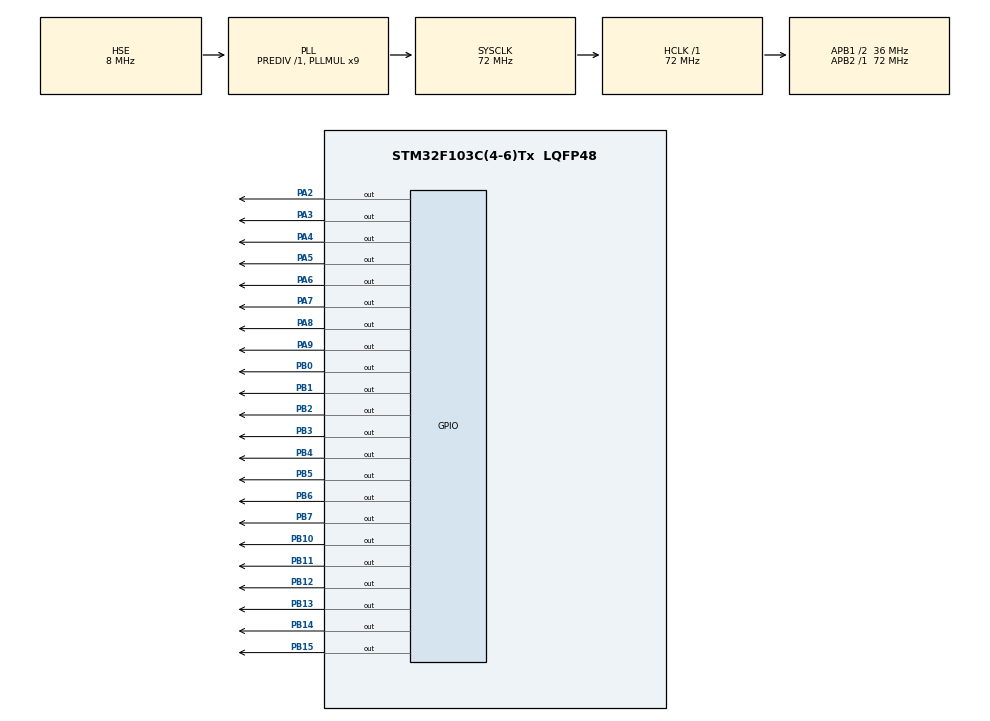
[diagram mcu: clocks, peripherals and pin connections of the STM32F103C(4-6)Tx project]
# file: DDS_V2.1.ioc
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Mcu.Family=STM32F1
Mcu.Name=STM32F103C(4-6)Tx
Mcu.Package=LQFP48
NVIC.PriorityGroup=NVIC_PRIORITYGROUP_4
NVIC.TIM2_IRQn=true\:0\:0\:false\:false\:true\:true\:true
PA13.Mode=Serial_Wire
PA13.Signal=SYS_JTMS-SWDIO
PA14.Mode=Serial_Wire
PA14.Signal=SYS_JTCK-SWCLK
PA2.Signal=GPIO_Output
PA3.GPIO_PuPd=GPIO_PULLDOWN
PA3.Signal=GPIO_Output
PA4.Signal=GPIO_Output
PA5.Signal=GPIO_Output
PA6.Signal=GPIO_Output
PA7.Signal=GPIO_Output
PA8.Signal=GPIO_Output
PA9.Signal=GPIO_Output
PB0.Signal=GPIO_Output
PB1.Signal=GPIO_Output
PB10.Signal=GPIO_Output
PB11.Signal=GPIO_Output
PB12.Signal=GPIO_Output
PB13.Signal=GPIO_Output
PB14.Signal=GPIO_Output
PB15.Signal=GPIO_Output
PB2.Signal=GPIO_Output
PB3.Signal=GPIO_Output
PB4.Signal=GPIO_Output
PB5.Signal=GPIO_Output
PB6.Signal=GPIO_Output
PB7.Signal=GPIO_Output
PD0-OSC_IN.Mode=HSE-External-Oscillator
PD0-OSC_IN.Signal=RCC_OSC_IN
PD1-OSC_OUT.Mode=HSE-External-Oscillator
PD1-OSC_OUT.Signal=RCC_OSC_OUT
ProjectManager.HeapSize=0x200
ProjectManager.StackSize=0x400
ProjectManager.TargetToolchain=STM32CubeIDE
RCC.AHBFreq_Value=72000000
RCC.APB1CLKDivider=RCC_HCLK_DIV2
RCC.APB1Freq_Value=36000000
RCC.APB1TimFreq_Value=72000000
RCC.APB2Freq_Value=72000000
RCC.APB2TimFreq_Value=72000000
RCC.HCLKFreq_Value=72000000
RCC.PLLMUL=RCC_PLL_MUL9
RCC.PLLSourceVirtual=RCC_PLLSOURCE_HSE
RCC.SYSCLKFreq_VALUE=72000000
RCC.SYSCLKSource=RCC_SYSCLKSOURCE_PLLCLK
RCC.USBFreq_Value=72000000
TIM1.Prescaler=35
TIM2.Period=1
TIM2.Prescaler=35
VP_TIM1_VS_ClockSourceINT.Mode=Internal
VP_TIM2_VS_ClockSourceINT.Mode=Internal
board=custom

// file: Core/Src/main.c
/* USER CODE BEGIN Header */
/**
  ******************************************************************************
  * @file           : main.c
  * @brief          : Main program body
  ******************************************************************************
  * @attention
  *
  * <h2><center>&copy; Copyright (c) 2021 STMicroelectronics.
  * All rights reserved.</center></h2>
  *
  * This software component is licensed by ST under BSD 3-Clause license,
  * the "License"; You may not use this file except in compliance with the
  * License. You may obtain a copy of the License at:
  *                        opensource.org/licenses/BSD-3-Clause
  *
  ******************************************************************************
  */
/* USER CODE END Header */

#include "main.h"
#include <stdbool.h>
#include <stdlib.h>
#include <math.h>

/* USER CODE BEGIN PD */
#define OUTPUT_FREQUENCY 30000000
#define SYSTEM_CLOCK 150000000
#define PHASE_DDS1 0                //must be a multiple of 11.25
#define PHASE_DDS2 0                     //must be a multiple of 11.25
#define REFCLK_MULTIPLIER_ENABLE true
/* USER CODE END PD */

TIM_HandleTypeDef htim1;
TIM_HandleTypeDef htim2;

/* USER CODE BEGIN PV */
uint16_t * tuningWordsDDS1;
uint16_t phaseWordDDS1;
uint16_t * tuningWordsDDS2;
uint16_t phaseWordDDS2;
/* USER CODE END PV */

void SystemClock_Config(void);
static void MX_GPIO_Init(void);
static void MX_TIM1_Init(void);
static void MX_TIM2_Init(void);

/* USER CODE BEGIN 0 */
uint16_t Get_Phase_Tuning_Word(float phase, bool isMultiplierEnable) {
	uint16_t phaseTuningWord = ((uint16_t) (phase / 11.25)) << 3;
	if(isMultiplierEnable) {
		phaseTuningWord |= 1;
	}

	return phaseTuningWord;
}

uint16_t * Get_Freq_Tuning_Words(int outputFrequency, int systemClock) {
	int tuningWord = (int) outputFrequency * pow(2, 32) / systemClock; //datasheet formula

	uint16_t * words;
	words = malloc(sizeof(uint16_t) * 5);
	for (uint8_t i = 4, shift = 0; i >= 1; i--, shift++) {
		words[i] = (tuningWord >> (8 * shift)) & 255;
	}

	return words;
}
/* USER CODE END 0 */

int main(void)
{

  /* MCU Configuration--------------------------------------------------------*/

  /* Reset of all peripherals, Initializes the Flash interface and the Systick. */
  HAL_Init();

  /* Configure the system clock */
  SystemClock_Config();

  /* Initialize all configured peripherals */
  MX_GPIO_Init();
  MX_TIM1_Init();
  MX_TIM2_Init();
  /* USER CODE BEGIN 2 */
  HAL_GPIO_WritePin(GPIOA, GPIO_PIN_2, GPIO_PIN_RESET); //setting low level on FQ_UD DDS1
  HAL_GPIO_WritePin(GPIOA, GPIO_PIN_3, GPIO_PIN_RESET); //setting low level on W_CLK DDS1
  HAL_GPIO_WritePin(GPIOB, GPIO_PIN_11, GPIO_PIN_RESET);//setting low level on RESET DDS1

  /*Setting low level on data pins DDS1*/
  HAL_GPIO_WritePin(GPIOA, GPIO_PIN_4, GPIO_PIN_RESET);
  HAL_GPIO_WritePin(GPIOA, GPIO_PIN_5, GPIO_PIN_RESET);
  HAL_GPIO_WritePin(GPIOA, GPIO_PIN_6, GPIO_PIN_RESET);
  HAL_GPIO_WritePin(GPIOA, GPIO_PIN_7, GPIO_PIN_RESET);
  HAL_GPIO_WritePin(GPIOB, GPIO_PIN_0, GPIO_PIN_RESET);
  HAL_GPIO_WritePin(GPIOB, GPIO_PIN_1, GPIO_PIN_RESET);
  HAL_GPIO_WritePin(GPIOB, GPIO_PIN_2, GPIO_PIN_RESET);
  HAL_GPIO_WritePin(GPIOB, GPIO_PIN_10, GPIO_PIN_RESET);

  HAL_GPIO_WritePin(GPIOB, GPIO_PIN_12, GPIO_PIN_RESET); //setting low level on FQ_UD DDS2
  HAL_GPIO_WritePin(GPIOB, GPIO_PIN_13, GPIO_PIN_RESET); //setting low level on W_CLK DDS2
  HAL_GPIO_WritePin(GPIOB, GPIO_PIN_7, GPIO_PIN_RESET);  //setting low level on RESET DDS2

  /*Setting low level on data pins DDS2*/
  HAL_GPIO_WritePin(GPIOB, GPIO_PIN_14, GPIO_PIN_RESET);
  HAL_GPIO_WritePin(GPIOB, GPIO_PIN_15, GPIO_PIN_RESET);
  HAL_GPIO_WritePin(GPIOA, GPIO_PIN_8, GPIO_PIN_RESET);
  HAL_GPIO_WritePin(GPIOA, GPIO_PIN_9, GPIO_PIN_RESET);
  HAL_GPIO_WritePin(GPIOB, GPIO_PIN_3, GPIO_PIN_RESET);
  HAL_GPIO_WritePin(GPIOB, GPIO_PIN_4, GPIO_PIN_RESET);
  HAL_GPIO_WritePin(GPIOB, GPIO_PIN_5, GPIO_PIN_RESET);
  HAL_GPIO_WritePin(GPIOB, GPIO_PIN_6, GPIO_PIN_RESET);

  tuningWordsDDS1 = malloc(sizeof(uint16_t) * 5);
  tuningWordsDDS1 = Get_Freq_Tuning_Words(OUTPUT_FREQUENCY, SYSTEM_CLOCK);
  phaseWordDDS1 = Get_Phase_Tuning_Word(PHASE_DDS1, REFCLK_MULTIPLIER_ENABLE);
  tuningWordsDDS1[0] = phaseWordDDS1;

  tuningWordsDDS2 = malloc(sizeof(uint16_t) * 5);
  tuningWordsDDS2 = Get_Freq_Tuning_Words(OUTPUT_FREQUENCY, SYSTEM_CLOCK);
  phaseWordDDS2 = Get_Phase_Tuning_Word(PHASE_DDS2, REFCLK_MULTIPLIER_ENABLE);
  tuningWordsDDS2[0] = phaseWordDDS2;

  HAL_TIM_Base_Start_IT(&htim2);

  /* USER CODE END 2 */

  /* Infinite loop */
  while (1)
  {

  }
}

void SystemClock_Config(void)
{
  RCC_OscInitTypeDef RCC_OscInitStruct = {0};
  RCC_ClkInitTypeDef RCC_ClkInitStruct = {0};

  /** Initializes the CPU, AHB and APB busses clocks
  */
  RCC_OscInitStruct.OscillatorType = RCC_OSCILLATORTYPE_HSE;
  RCC_OscInitStruct.HSEState = RCC_HSE_ON;
  RCC_OscInitStruct.HSEPredivValue = RCC_HSE_PREDIV_DIV1;
  RCC_OscInitStruct.HSIState = RCC_HSI_ON;
  RCC_OscInitStruct.PLL.PLLState = RCC_PLL_ON;
  RCC_OscInitStruct.PLL.PLLSource = RCC_PLLSOURCE_HSE;
  RCC_OscInitStruct.PLL.PLLMUL = RCC_PLL_MUL9;
  if (HAL_RCC_OscConfig(&RCC_OscInitStruct) != HAL_OK)
  {
    Error_Handler();
  }
  /** Initializes the CPU, AHB and APB busses clocks
  */
  RCC_ClkInitStruct.ClockType = RCC_CLOCKTYPE_HCLK|RCC_CLOCKTYPE_SYSCLK
                              |RCC_CLOCKTYPE_PCLK1|RCC_CLOCKTYPE_PCLK2;
  RCC_ClkInitStruct.SYSCLKSource = RCC_SYSCLKSOURCE_PLLCLK;
  RCC_ClkInitStruct.AHBCLKDivider = RCC_SYSCLK_DIV1;
  RCC_ClkInitStruct.APB1CLKDivider = RCC_HCLK_DIV2;
  RCC_ClkInitStruct.APB2CLKDivider = RCC_HCLK_DIV1;

  if (HAL_RCC_ClockConfig(&RCC_ClkInitStruct, FLASH_LATENCY_2) != HAL_OK)
  {
    Error_Handler();
  }
}

static void MX_TIM1_Init(void)
{

  TIM_ClockConfigTypeDef sClockSourceConfig = {0};
  TIM_MasterConfigTypeDef sMasterConfig = {0};

  htim1.Instance = TIM1;
  htim1.Init.Prescaler = 35;
  htim1.Init.CounterMode = TIM_COUNTERMODE_UP;
  htim1.Init.Period = 0;
  htim1.Init.ClockDivision = TIM_CLOCKDIVISION_DIV1;
  htim1.Init.RepetitionCounter = 0;
  htim1.Init.AutoReloadPreload = TIM_AUTORELOAD_PRELOAD_DISABLE;
  if (HAL_TIM_Base_Init(&htim1) != HAL_OK)
  {
    Error_Handler();
  }
  sClockSourceConfig.ClockSource = TIM_CLOCKSOURCE_INTERNAL;
  if (HAL_TIM_ConfigClockSource(&htim1, &sClockSourceConfig) != HAL_OK)
  {
    Error_Handler();
  }
  sMasterConfig.MasterOutputTrigger = TIM_TRGO_RESET;
  sMasterConfig.MasterSlaveMode = TIM_MASTERSLAVEMODE_DISABLE;
  if (HAL_TIMEx_MasterConfigSynchronization(&htim1, &sMasterConfig) != HAL_OK)
  {
    Error_Handler();
  }

}

static void MX_TIM2_Init(void)
{

  TIM_ClockConfigTypeDef sClockSourceConfig = {0};
  TIM_MasterConfigTypeDef sMasterConfig = {0};

  htim2.Instance = TIM2;
  htim2.Init.Prescaler = 35;
  htim2.Init.CounterMode = TIM_COUNTERMODE_UP;
  htim2.Init.Period = 1;
  htim2.Init.ClockDivision = TIM_CLOCKDIVISION_DIV1;
  htim2.Init.AutoReloadPreload = TIM_AUTORELOAD_PRELOAD_DISABLE;
  if (HAL_TIM_Base_Init(&htim2) != HAL_OK)
  {
    Error_Handler();
  }
  sClockSourceConfig.ClockSource = TIM_CLOCKSOURCE_INTERNAL;
  if (HAL_TIM_ConfigClockSource(&htim2, &sClockSourceConfig) != HAL_OK)
  {
    Error_Handler();
  }
  sMasterConfig.MasterOutputTrigger = TIM_TRGO_RESET;
  sMasterConfig.MasterSlaveMode = TIM_MASTERSLAVEMODE_DISABLE;
  if (HAL_TIMEx_MasterConfigSynchronization(&htim2, &sMasterConfig) != HAL_OK)
  {
    Error_Handler();
  }

}

static void MX_GPIO_Init(void)
{
  GPIO_InitTypeDef GPIO_InitStruct = {0};

  /* GPIO Ports Clock Enable */
  __HAL_RCC_GPIOD_CLK_ENABLE();
  __HAL_RCC_GPIOA_CLK_ENABLE();
  __HAL_RCC_GPIOB_CLK_ENABLE();

  /*Configure GPIO pin Output Level */
  HAL_GPIO_WritePin(GPIOA, GPIO_PIN_2|GPIO_PIN_3|GPIO_PIN_4|GPIO_PIN_5
                          |GPIO_PIN_6|GPIO_PIN_7|GPIO_PIN_8|GPIO_PIN_9, GPIO_PIN_RESET);

  /*Configure GPIO pin Output Level */
  HAL_GPIO_WritePin(GPIOB, GPIO_PIN_0|GPIO_PIN_1|GPIO_PIN_2|GPIO_PIN_10
                          |GPIO_PIN_11|GPIO_PIN_12|GPIO_PIN_13|GPIO_PIN_14
                          |GPIO_PIN_15|GPIO_PIN_3|GPIO_PIN_4|GPIO_PIN_5
                          |GPIO_PIN_6|GPIO_PIN_7, GPIO_PIN_RESET);

  /*Configure GPIO pins : PA2 PA4 PA5 PA6
                           PA7 PA8 PA9 */
  GPIO_InitStruct.Pin = GPIO_PIN_2|GPIO_PIN_4|GPIO_PIN_5|GPIO_PIN_6
                          |GPIO_PIN_7|GPIO_PIN_8|GPIO_PIN_9;
  GPIO_InitStruct.Mode = GPIO_MODE_OUTPUT_PP;
  GPIO_InitStruct.Pull = GPIO_NOPULL;
  GPIO_InitStruct.Speed = GPIO_SPEED_FREQ_LOW;
  HAL_GPIO_Init(GPIOA, &GPIO_InitStruct);

  /*Configure GPIO pin : PA3 */
  GPIO_InitStruct.Pin = GPIO_PIN_3;
  GPIO_InitStruct.Mode = GPIO_MODE_OUTPUT_PP;
  GPIO_InitStruct.Pull = GPIO_PULLDOWN;
  GPIO_InitStruct.Speed = GPIO_SPEED_FREQ_LOW;
  HAL_GPIO_Init(GPIOA, &GPIO_InitStruct);

  /*Configure GPIO pins : PB0 PB1 PB2 PB10
                           PB11 PB12 PB13 PB14
                           PB15 PB3 PB4 PB5
                           PB6 PB7 */
  GPIO_InitStruct.Pin = GPIO_PIN_0|GPIO_PIN_1|GPIO_PIN_2|GPIO_PIN_10
                          |GPIO_PIN_11|GPIO_PIN_12|GPIO_PIN_13|GPIO_PIN_14
                          |GPIO_PIN_15|GPIO_PIN_3|GPIO_PIN_4|GPIO_PIN_5
                          |GPIO_PIN_6|GPIO_PIN_7;
  GPIO_InitStruct.Mode = GPIO_MODE_OUTPUT_PP;
  GPIO_InitStruct.Pull = GPIO_NOPULL;
  GPIO_InitStruct.Speed = GPIO_SPEED_FREQ_LOW;
  HAL_GPIO_Init(GPIOB, &GPIO_InitStruct);

}

/* USER CODE BEGIN 4 */
/*uint16_t Get_Phase_Tuning_Word(float phase, bool isMultiplierEnable) {
	uint16_t phaseTuningWord = ((uint16_t) (phase / 11.25)) << 3;
	if(isMultiplierEnable) {
		phaseTuningWord |= 1;
	}

	return phaseTuningWord;
}

uint16_t * Get_Freq_Tuning_Words(int outputFrequency, int systemClock) {
	int tuningWord = (uint16_t) outputFrequency * pow(2, 32) / systemClock; //datasheet formula

	uint16_t * words;
	words = malloc(sizeof(uint16_t) * 5);
	for (uint8_t i = 1; i < sizeof(words) + 1; i++) {
		words[i] = (tuningWord >> (8 * i)) & 255;
	}

	return words;
}*/
/* USER CODE END 4 */

void Error_Handler(void)
{
}

/************************ (C) COPYRIGHT STMicroelectronics *****END OF FILE****/
